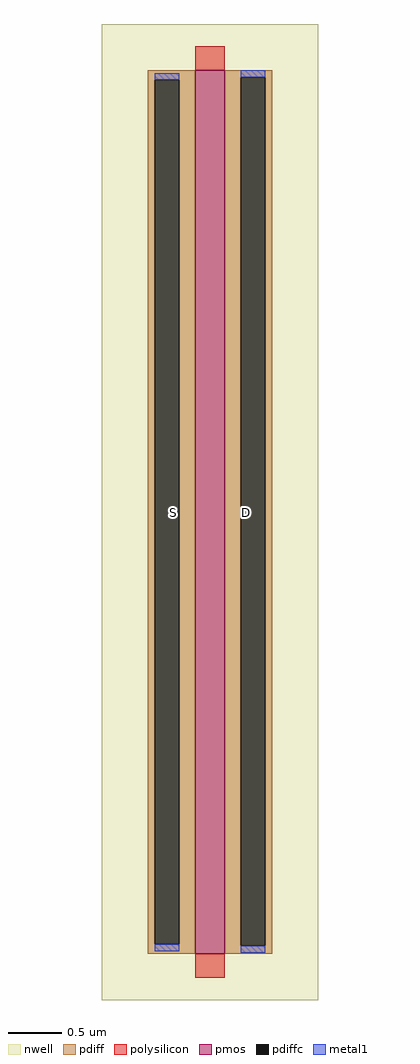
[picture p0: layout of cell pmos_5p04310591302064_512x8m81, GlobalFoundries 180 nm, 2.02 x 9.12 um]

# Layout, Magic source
magic
tech gf180mcuD
magscale 1 10
<< nwell >>
rect -174 -86 230 1737
<< pmos >>
rect 0 0 56 1651
<< pdiff >>
rect -88 1633 0 1651
rect -88 18 -75 1633
rect -29 18 0 1633
rect -88 0 0 18
rect 56 1638 144 1651
rect 56 15 85 1638
rect 131 15 144 1638
rect 56 0 144 15
<< pdiffc >>
rect -75 18 -29 1633
rect 85 15 131 1638
<< polysilicon >>
rect 0 1651 56 1695
rect 0 -44 56 0
<< metal1 >>
rect -75 1633 -29 1645
rect -75 5 -29 18
rect 85 1638 131 1651
rect 85 2 131 15
<< labels >>
flabel pdiffc -40 825 -40 825 0 FreeSans 186 0 0 0 S
flabel pdiffc 96 825 96 825 0 FreeSans 186 0 0 0 D
<< end >>
